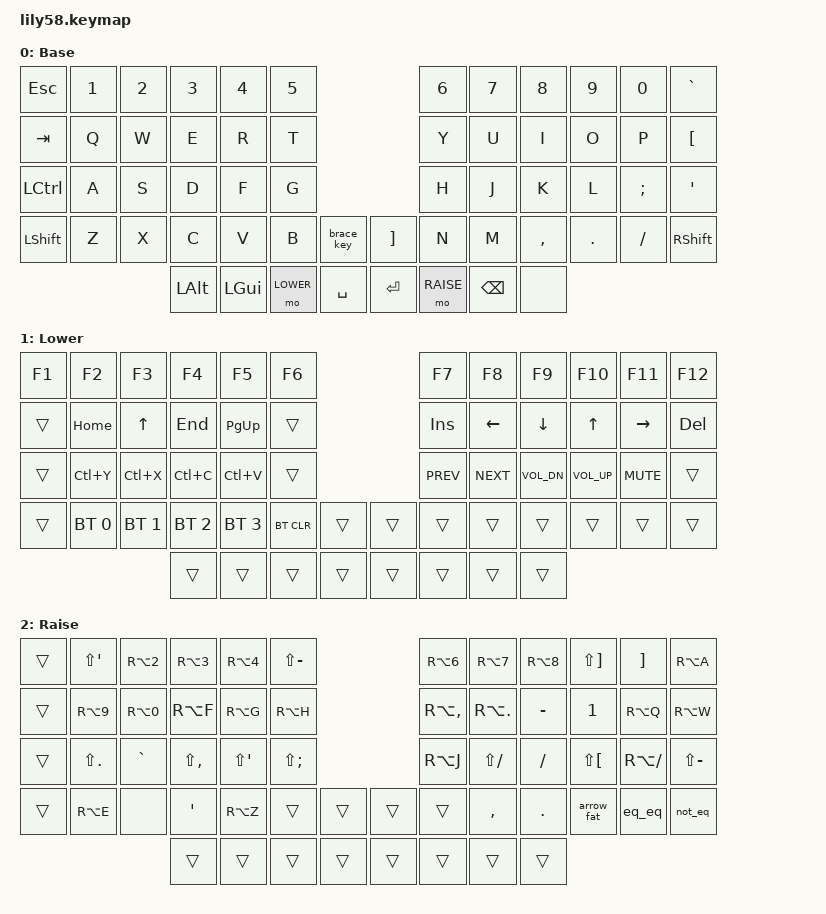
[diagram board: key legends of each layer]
/*
 * Copyright (c) 2020 The ZMK Contributors
 *
 * SPDX-License-Identifier: MIT
 */

/*
 * Host OS keyboard layout is Czech (xkb "cz", QWERTZ). All bindings send
 * positional US scancodes; the host maps them to Czech output. Symbol
 * bindings below were derived from /usr/share/X11/xkb/symbols/cz "basic".
 */

#include <behaviors.dtsi>
#include <dt-bindings/zmk/bt.h>
#include <dt-bindings/zmk/keys.h>

#define BASE  0
#define LOWER 1
#define RAISE 2

/ {
    behaviors {
        // Tap = "{" (RA(N9), cz AltGr+9). Shift+tap = "}" (RA(N0), cz AltGr+0),
        // with the real Shift masked so it doesn't stack onto the AltGr combo.
        brace_key: brace_key {
            compatible = "zmk,behavior-mod-morph";
            #binding-cells = <0>;
            bindings = <&kp RA(N9)>, <&kp RA(N0)>;
            mods = <(MOD_LSFT|MOD_RSFT)>;
        };
    };

    macros {
        arrow_fat: arrow_fat {
            compatible = "zmk,behavior-macro";
            #binding-cells = <0>;
            wait-ms = <5>;
            tap-ms = <5>;
            bindings = <&kp MINUS &kp RA(DOT)>;   // "=>" under cz
        };

        eq_eq: eq_eq {
            compatible = "zmk,behavior-macro";
            #binding-cells = <0>;
            wait-ms = <5>;
            tap-ms = <5>;
            bindings = <&kp MINUS &kp MINUS>;     // "==" under cz
        };

        not_eq: not_eq {
            compatible = "zmk,behavior-macro";
            #binding-cells = <0>;
            wait-ms = <5>;
            tap-ms = <5>;
            bindings = <&kp LS(SQT) &kp MINUS>;   // "!=" under cz
        };
    };

    keymap {
        compatible = "zmk,keymap";

        default_layer {
            // Czech output (unshifted; number row gives digits on Shift):
            // ------------------------------------------------------------------------------------------------------------
            // |  ESC  |  +  |  ě  |  š   |  č   |  ř   |                   |  ž   |  ý    |  á    |  í   |   é   |   ;   |
            // |  TAB  |  q  |  w  |  e   |  r   |  t   |                   |  z   |  u    |  i    |  o   |   p   |   ú   |
            // |  CTRL |  a  |  s  |  d   |  f   |  g   |                   |  h   |  j    |  k    |  l   |   ů   |   §   |
            // | SHIFT |  y  |  x  |  c   |  v   |  b   |  {/}   |  |   )   |  n   |  m    |  ,    |  .   |   -   | SHIFT |
            //                     | ALT  | GUI  | LOWER| SPACE  |  | ENTER | RAISE| BSPC  |  ---  |

            display-name = "Base";
            bindings = <
&kp ESC         &kp N1  &kp N2  &kp N3    &kp N4    &kp N5                            &kp N6   &kp N7     &kp N8     &kp N9   &kp N0    &kp GRAVE
&kp TAB         &kp Q   &kp W   &kp E     &kp R     &kp T                             &kp Y    &kp U      &kp I      &kp O    &kp P     &kp LBKT
&kp LCTRL       &kp A   &kp S   &kp D     &kp F     &kp G                             &kp H    &kp J      &kp K      &kp L    &kp SEMI  &kp SQT
&kp LEFT_SHIFT  &kp Z   &kp X   &kp C     &kp V     &kp B      &brace_key   &kp RBKT  &kp N    &kp M      &kp COMMA  &kp DOT  &kp FSLH  &kp RSHFT
                                &kp LALT  &kp LGUI  &mo LOWER  &kp SPACE    &kp RET   &mo RAISE  &kp BSPC  &none
            >;
        };

        lower_layer {
            // Navigation / system:
            // ------------------------------------------------------------------------------------------------------------
            // |  F1   |  F2  |  F3  |  F4  |  F5   |  F6  |                 |  F7  |  F8   |  F9   |  F10 |  F11  |  F12  |
            // |       | HOME |  UP  | END  | PGUP  |      |                 |  INS | LEFT  | DOWN  |  UP  | RIGHT |  DEL  |
            // |       | UNDO |  CUT | COPY | PASTE |      |                 | PREV | NEXT  | VOL-  | VOL+ | MUTE  |       |
            // |       | BT1  |  BT2 | BT3  |  BT4  | BTCLR|      |  |       |      |       |       |      |       |       |
            //                       |      |       |      |      |  |       |      |       |       |

            display-name = "Lower";
            bindings = <
&kp F1  &kp F2        &kp F3        &kp F4        &kp F5        &kp F6                        &kp F7      &kp F8      &kp F9        &kp F10       &kp F11     &kp F12
&trans  &kp HOME      &kp UP        &kp END       &kp PG_UP     &trans                        &kp INS     &kp LEFT    &kp DOWN      &kp UP        &kp RIGHT   &kp DEL
&trans  &kp LC(Y)     &kp LC(X)     &kp LC(C)     &kp LC(V)     &trans                        &kp C_PREV  &kp C_NEXT  &kp C_VOL_DN  &kp C_VOL_UP  &kp C_MUTE  &trans
&trans  &bt BT_SEL 0  &bt BT_SEL 1  &bt BT_SEL 2  &bt BT_SEL 3  &bt BT_CLR  &trans    &trans  &trans      &trans      &trans        &trans        &trans      &trans
                                    &trans        &trans        &trans      &trans    &trans  &trans      &trans      &trans
            >;
        };

        raise_layer {
            // Symbols (Czech output; keycodes are cz-layout combos):
            // ------------------------------------------------------------------------------------------------------------
            // |       |  !  |  @  |  #   |  $   |  %   |                   |  ^   |  &    |  *    |  (   |   )   |   ~   |
            // |       |  {  |  }  |  [   |  ]   |  `   |                   |  <   |  >    |  =    |  +   |   \   |   |   |
            // |       |  :  |  ;  |  ?   |  !   |  "   |                   |  '   |  _    |  -    |  /   |   *   |   %   |
            // |       |  €  |     |  §   |  °   |      |        |  |       |      |  ,    |  .    |  =>  |  ==   |  !=   |
            //                     |      |      |      |        |  |       |      |       |       |

            display-name = "Raise";
            bindings = <
&trans  &kp LS(SQT)  &kp RA(N2)  &kp RA(N3)     &kp RA(N4)   &kp LS(MINUS)                    &kp RA(N6)     &kp RA(N7)    &kp RA(N8)  &kp LS(RBKT)  &kp RBKT      &kp RA(A)
&trans  &kp RA(N9)   &kp RA(N0)  &kp RA(F)      &kp RA(G)    &kp RA(H)                        &kp RA(COMMA)  &kp RA(DOT)   &kp MINUS   &kp N1        &kp RA(Q)     &kp RA(W)
&trans  &kp LS(DOT)  &kp GRAVE   &kp LS(COMMA)  &kp LS(SQT)  &kp LS(SEMI)                     &kp RA(J)      &kp LS(FSLH)  &kp FSLH    &kp LS(LBKT)  &kp RA(FSLH)  &kp LS(MINUS)
&trans  &kp RA(E)    &none       &kp SQT        &kp RA(Z)    &trans         &trans    &trans  &trans         &kp COMMA     &kp DOT     &arrow_fat    &eq_eq        &not_eq
                                 &trans         &trans       &trans         &trans    &trans  &trans         &trans        &trans
            >;
        };
    };
};
